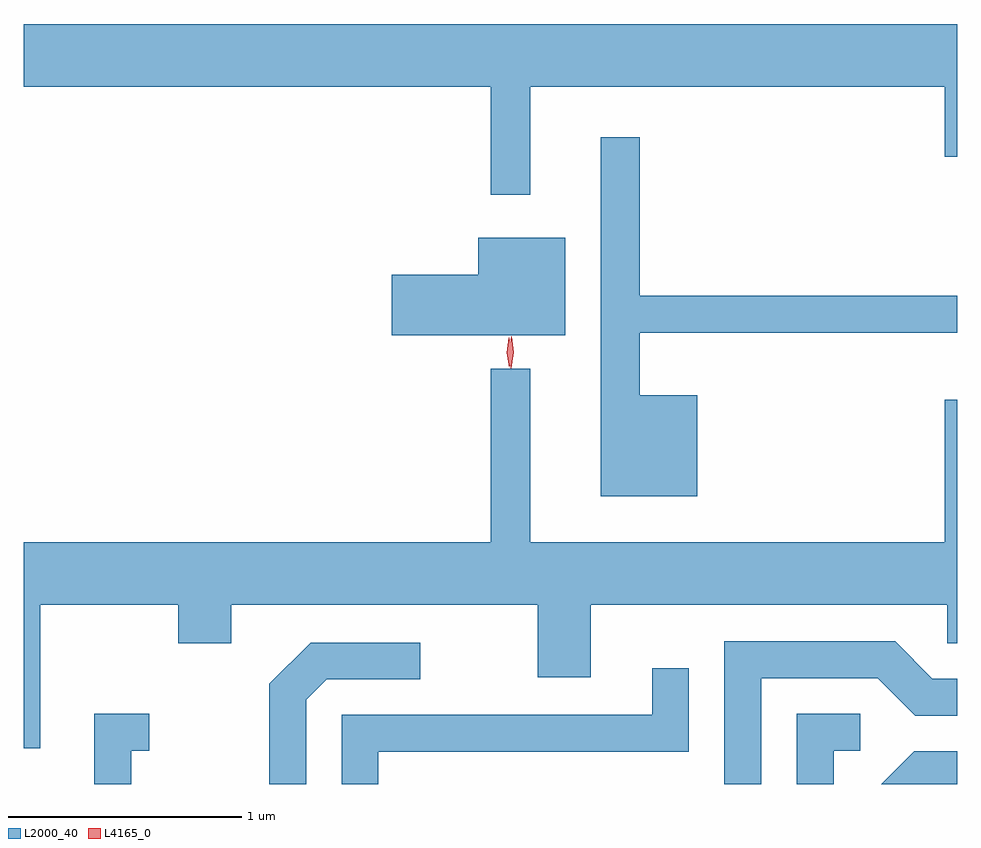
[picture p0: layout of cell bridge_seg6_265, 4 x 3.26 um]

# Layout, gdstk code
import gdstk
lib = gdstk.Library(unit=1e-6, precision=1e-09)
def P(c, l, *ps):  # polygons
    for p in ps: c.add(gdstk.Polygon(p, *l))
L2000_40 = (2000, 40)
L4165_0 = (4165, 0)

bridge_seg6_265 = lib.new_cell('bridge_seg6_265')
P(bridge_seg6_265, L2000_40, [(1272.239,1578.896),(1274.016,1578.896),(1274.016,1578.596),(1274.069,1578.596),(1274.069,1579.164),(1270.069,1579.164),(1270.069,1578.896),(1272.071,1578.896),(1272.071,1578.433),(1272.239,1578.433)],
  [(1272.954,1577.574),(1272.709,1577.574),(1272.709,1577.841),(1274.069,1577.841),(1274.069,1577.999),(1272.709,1577.999),(1272.709,1578.678),(1272.541,1578.678),(1272.541,1577.141),(1272.954,1577.141)],
  [(1272.389,1578.249),(1272.016,1578.249),(1272.016,1578.089),(1271.646,1578.089),(1271.646,1577.831),(1272.389,1577.831)],
  [(1270.139,1576.676),(1270.731,1576.676),(1270.731,1576.511),(1270.959,1576.511),(1270.959,1576.676),(1272.271,1576.676),(1272.271,1576.366),(1272.499,1576.366),(1272.499,1576.676),(1274.026,1576.676),(1274.026,1576.511),(1274.069,1576.511),(1274.069,1577.554),(1274.016,1577.554),(1274.016,1576.944),(1272.239,1576.944),(1272.239,1577.688),(1272.071,1577.688),(1272.071,1576.944),(1270.069,1576.944),(1270.069,1576.061),(1270.139,1576.061)],
  [(1273.229,1576.361),(1273.729,1576.361),(1273.889,1576.201),(1274.069,1576.201),(1274.069,1576.359),(1273.962,1576.359),(1273.802,1576.519),(1273.071,1576.519),(1273.071,1575.908),(1273.229,1575.908)],
  [(1271.279,1576.269),(1271.367,1576.356),(1271.768,1576.356),(1271.768,1576.514),(1271.299,1576.514),(1271.121,1576.337),(1271.121,1575.908),(1271.279,1575.908)],
  [(1271.589,1576.046),(1272.919,1576.046),(1272.919,1576.403),(1272.761,1576.403),(1272.761,1576.204),(1271.431,1576.204),(1271.431,1575.908),(1271.589,1575.908)],
  [(1273.539,1576.051),(1273.653,1576.051),(1273.653,1576.209),(1273.381,1576.209),(1273.381,1575.908),(1273.539,1575.908)],
  [(1270.529,1576.051),(1270.608,1576.051),(1270.608,1576.209),(1270.371,1576.209),(1270.371,1575.908),(1270.529,1575.908)],
  [(1274.069,1576.049),(1273.884,1576.049),(1273.742,1575.908),(1274.069,1575.908)])
P(bridge_seg6_265, L4165_0, [(1272.149,1577.693),(1272.149,1577.694),(1272.139,1577.756),(1272.148,1577.819),(1272.149,1577.82),(1272.149,1577.819),(1272.159,1577.756),(1272.15,1577.694)],
  [(1272.156,1577.69),(1272.148,1577.758),(1272.158,1577.825),(1272.158,1577.826),(1272.159,1577.825),(1272.168,1577.758),(1272.157,1577.69),(1272.157,1577.69)])

lib.write_gds('bridge_seg6_265.gds')
